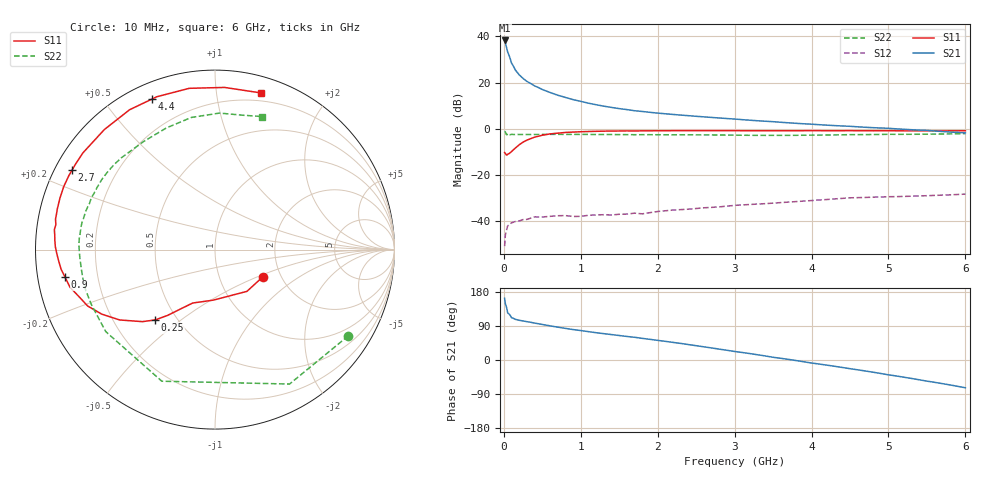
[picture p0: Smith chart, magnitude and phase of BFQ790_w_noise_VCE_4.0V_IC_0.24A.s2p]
! (c) 2015  Infineon Technologies AG, Munich
! Infineon Technologies  Discrete & RF Semiconductors
! BFQ790
! VCE =  4.0 V,  IC = 0.24 A
! Common Emitter S-Parameters:  May 2015
# GHz  S  MA  R  50
!  f  S11  S21  S12  S22
! GHz  MAG  ANG  MAG  ANG  MAG  ANG  MAG  ANG
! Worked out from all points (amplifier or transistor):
!   77 points, 10 MHz to 6 GHz, reference 50 ohm
!   highest |S21| = 38.2 dB at 10 MHz (marker M1)
!   |S21| within 3 dB of that: start of sweep to 35.03 MHz
!   unconditionally stable (mu >= 1): 193.8 MHz to end of sweep
!   at 130 MHz: K = 0.79, MSG = 33.5 dB, |S12| = -40.3 dB
!   at 2.2 GHz: K = 1.30, MAG = 17.4 dB, |S12| = -35.1 dB
!   at 6 GHz: K = 1.10, MAG = 11.3 dB, |S12| = -28.2 dB
!   lowest NFmin = 3.64 dB at 1.5 GHz
!   S11 on the Smith chart (normalised r, x): 10 MHz: 1.62, -0.54; 250 MHz: 0.38, -0.41; 900 MHz: 0.08, -0.09; 2.7 GHz: 0.05, +0.26; 4.4 GHz: 0.07, +0.66; 6 GHz: 0.13, +1.32
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0.01  0.3068 -29.6  81.3 162.8  0.0029 65.5  0.8847 -32.9
0.02  0.2929 -52.6  71.99 148.2  0.0051 54.6  0.8565 -61.0
0.05  0.2814 -91.7  45.69 124.3  0.008 33.6  0.7909 -112.0
0.1  0.3224 -112.6  26.35 111.7  0.0093 21.9  0.7611 -143.1
0.15  0.3839 -120.3  18.65 107.3  0.0099 18.9  0.7539 -156.1
0.2  0.4521 -125.8  14.68 104.8  0.0102 21.3  0.7552 -163.0
0.25  0.5147 -130.4  12.26 103.0  0.0109 19.6  0.7536 -167.5
0.3  0.5696 -135.2  10.58 101.2  0.011 16.4  0.7525 -170.9
0.4  0.6604 -143.6  8.471 97.3  0.0125 15.8  0.7539 -175.8
0.5  0.7259 -150.3  7.081 93.7  0.0124 13.0  0.7564 -179.3
0.6  0.7759 -156.1  6.105 90.2  0.0128 13.8  0.7588 177.8
0.7  0.8042 -161.3  5.331 86.7  0.0132 15.0  0.7587 175.4
0.9  0.8495 -169.6  4.279 80.3  0.0127 10.4  0.7566 171.7
1.1  0.8741 -176.1  3.582 74.8  0.0135 15.1  0.7558 168.3
1.5  0.8966 174.8  2.733 64.6  0.0142 12.9  0.7494 162.5
2.1  0.9082 163.6  2.112 49.2  0.0169 15.0  0.7428 153.7
2.7  0.9113 150.9  1.761 31.8  0.02 10.2  0.7363 142.0
3.1  0.9089 141.6  1.577 19.8  0.0226 6.1  0.726 133.0
4.1  0.9102 119.3  1.227 -10.7  0.0289 -8.7  0.7311 109.4
4.4  0.9091 112.9  1.151 -19.7  0.0313 -14.2  0.742 102.4
5.1  0.9056 96.6  0.999 -42.1  0.0342 -28.5  0.7599 86.0
6  0.9093 73.8  0.818 -73.3  0.0387 -49.1  0.7866 70.5
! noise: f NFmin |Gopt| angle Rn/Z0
0.45  6.01  0.5  143  0.58
0.9  4.24  0.62  168  0.19
1.5  3.64  0.73  -172  0.1
1.8  3.67  0.73  -166  0.12
2.6  3.87  0.76  -151  0.31
3.5  4.37  0.85  -134  0.65
